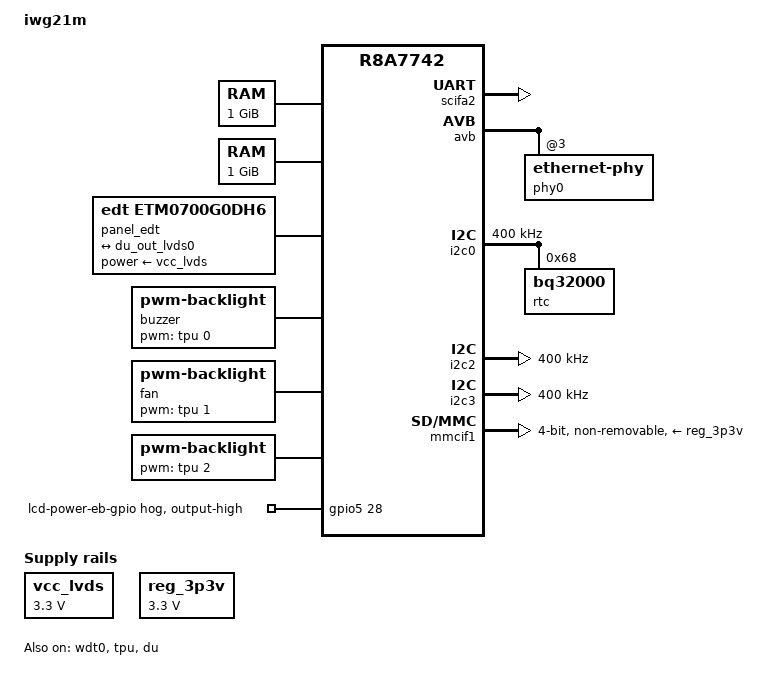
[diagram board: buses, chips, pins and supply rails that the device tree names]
/*
 * Copyright (C) 2018 Renesas Electronics Corporation
 * Copyright (c) 2015 iWave Systems Technologies Pvt. Ltd.
 *
 * The code contained herein is licensed under the GNU General Public
 * License. You may obtain a copy of the GNU General Public License
 * Version 2 or later at the following locations:
 *
 * http://www.opensource.org/licenses/gpl-license.html
 * http://www.gnu.org/copyleft/gpl.html
 */

/dts-v1/;
#include "r8a7742.dtsi"
#include <dt-bindings/gpio/gpio.h>
#include <dt-bindings/input/input.h>

/ {
	model = "iwg21m";
	compatible = "iw,iwg21m", "renesas,r8a7742";

	aliases {
		serial2 = &scifa2;
		eth = &avb;
	};

	memory@40000000 {
		device_type = "memory";
		reg = <0 0x40000000 0 0x40000000>;
	};

	memory@200000000 {
		device_type = "memory";
		reg = <2 0x00000000 0 0x40000000>;
	};

	lbsc {
		#address-cells = <1>;
		#size-cells = <1>;
	};

	vcc_lvds: regulator@4 {
		compatible = "regulator-fixed";

		regulator-name = "panel vcc";
		regulator-min-microvolt = <3300000>;
		regulator-max-microvolt = <3300000>;
		regulator-always-on;
	};

	reg_3p3v: 3p3v {
		compatible = "regulator-fixed";
		regulator-name = "3P3V";
		regulator-min-microvolt = <3300000>;
		regulator-max-microvolt = <3300000>;
		regulator-always-on;
		regulator-boot-on;
	};

	panel_edt: panel@0 {
		compatible = "edt,etm0700g0dh6", "simple-panel";
		power-supply = <&vcc_lvds>;

		ports {
			#address-cells = <1>;
			#size-cells = <0>;

			port@0 {
				#address-cells = <1>;
				#size-cells = <0>;
				reg = <0>;
				panel_input: endpoint {
					reg = <0>;
					remote-endpoint = <&du_out_lvds0>;
				};
			};
		};
	};

	buzzer {
		compatible = "pwm-backlight";
		pwms = <&tpu 0 5000000 GPIO_ACTIVE_HIGH>;
		brightness-levels = <0 4 8 16 32 64 128 255>;
		default-brightness-level = <7>;
		pinctrl-0 = <&buzzer_pins>;
		pinctrl-names = "default";
	};

	fan {
		compatible = "pwm-backlight";
		pwms = <&tpu 1 5000000 GPIO_ACTIVE_HIGH>;
		brightness-levels = <0 4 8 16 32 64 128 255>;
		default-brightness-level = <7>;
		pinctrl-0 = <&fan_pins>;
		pinctrl-names = "default";
	};

	backlight {
		compatible = "pwm-backlight";
		pwms = <&tpu 2 5000000 GPIO_ACTIVE_HIGH>;
		brightness-levels = <0 4 8 16 32 64 128 255>;
		default-brightness-level = <7>;
		pinctrl-0 = <&backlight_pins>;
		pinctrl-names = "default";
	};
};

&extal_clk {
	clock-frequency = <20000000>;
};

&pfc {
	scifa2_pins: serial2 {
		renesas,groups = "scifa2_data_c";
		renesas,function = "scifa2";
	};

	avb_pins: avb {
		renesas,groups = "avb_mdio", "avb_gmii", "avb_phy_int";
		renesas,function = "avb";
	};

	i2c0_pins: i2c0 {
		renesas,groups = "i2c0";
		renesas,function = "i2c0";
	};

	i2c1_pins: i2c1 {
		renesas,groups = "i2c1_c";
		renesas,function = "i2c1";
	};

	i2c2_pins: i2c2 {
		renesas,groups = "i2c2_b";
		renesas,function = "i2c2";
	};

	i2c3_pins: i2c3 {
		renesas,groups = "i2c3";
		renesas,function = "i2c3";
	};

	buzzer_pins: buzzer {
		renesas,groups = "tpu0_to0";
		renesas,function = "tpu0";
	};

	fan_pins: fan {
		renesas,groups = "tpu0_to1";
		renesas,function = "tpu0";
	};

	backlight_pins: backlight {
		renesas,groups = "tpu0_to2";
		renesas,function = "tpu0";
	};

	du_pins: du {
		renesas,groups = "du_rgb666", "du_sync_1", "du_clk_out_0";
		renesas,function = "du";
	};

	mmc1_4_pins: mmc1_4 {
		renesas,groups = "mmc1_data4", "mmc1_ctrl";
		renesas,function = "mmc1";
	};

	mmc1_8_pins: mmc1_8 {
		renesas,groups = "mmc1_data8", "mmc1_ctrl";
		renesas,function = "mmc1";
	};
};

&scifa2 {
	pinctrl-0 = <&scifa2_pins>;
	pinctrl-names = "default";
	status = "okay";
};

&avb {
	pinctrl-0 = <&avb_pins>;
	pinctrl-names = "default";

	phy-handle = <&phy0>;
	renesas,no-ether-link;
	status = "okay";

	phy0: ethernet-phy@0 {
		reg = <3>;
		micrel,led-mode = <1>;
	};
};

&wdt0{
	status = "okay";
};

&i2c0 {
	pinctrl-0 = <&i2c0_pins>;
	pinctrl-names = "default";

	status = "okay";
	clock-frequency = <400000>;

	rtc@68 {
		compatible = "bq32000";
		reg = <0x68>;
	};
};

&i2c1 {
	pinctrl-0 = <&i2c1_pins>;
	pinctrl-names = "default";

	status = "disabled";
	clock-frequency = <400000>;
};

&i2c2	{
	status = "okay";
	clock-frequency = <400000>;
	pinctrl-0 = <&i2c2_pins>;
	pinctrl-names = "default";

};

&i2c3 {
	pinctrl-0 = <&i2c3_pins>;
	pinctrl-names = "default";
	status = "okay";
	clock-frequency = <400000>;
};

&tpu {
	status = "okay";
};

&du {
	pinctrl-0 = <&du_pins>;
	pinctrl-names = "default";
	status = "okay";

	clocks = <&mstp7_clks R8A7742_CLK_DU0>,
		<&mstp7_clks R8A7742_CLK_DU1>,
		<&mstp7_clks R8A7742_CLK_LVDS0>;
	clock-names = "du.0", "du.1", "lvds.0";

	ports {
		port@0 {
			 endpoint {
				remote-endpoint = <&panel_input>;
			};
		};
	};
};

&gpio5 {
	lcd-power-eb-gpio{
		gpio-hog;
		gpios = <28 GPIO_ACTIVE_HIGH>;
		output-high;
		line-name = "lcd-power-eb-gpio";
	};
};

&mmcif1 {
	pinctrl-0 = <&mmc1_4_pins>;
	pinctrl-1 = <&mmc1_8_pins>;
	pinctrl-names = "default";

	vmmc-supply = <&reg_3p3v>;
	bus-width = <4>;
	non-removable;
	status = "okay";
};
